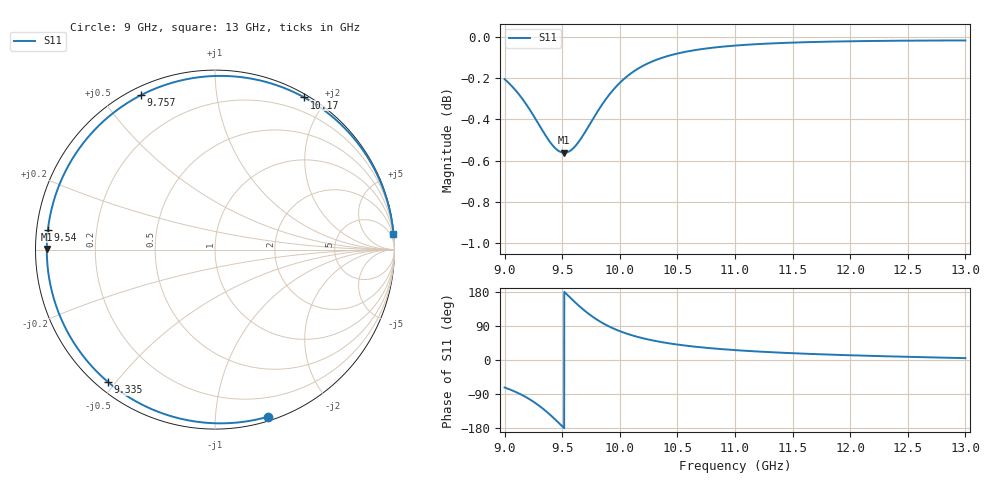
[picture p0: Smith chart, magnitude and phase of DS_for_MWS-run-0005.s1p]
! TOUCHSTONE file generated by CST DESIGN STUDIO
! Date and time: Tue Feb  4 12:55:01 2025
! Project name: C:\Work\MatlabApps\UnitCellOptimizationMatlab\CST\unitcell.cst
! Tree item: Tasks\Sweep1\SPara1\S-Parameters
! Header version: 2024
! Port assignment regex: !\s*Touchstone port\s*([0-9]+)\s*=\s*(CST MWS port|CST DES external port|CST DES block port)\s*(.+)\s* \(\"(.*)\"\)(\s*mode\s*([0-9]+))?.*
! Touchstone port assignment:
! Touchstone port 1 = CST DES external port 1 ("")
# GHz S MA R 50
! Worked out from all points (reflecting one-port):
!   4001 points, 9 GHz to 13 GHz, reference 50 ohm
!   lowest |S11| = -0.6 dB at 9.518 GHz (marker M1), VSWR 30.90, Z = 1.62 + j0.0847 ohm
!   phase of S11 starts at -73 deg and turns -283 deg over the sweep
!   S11 on the Smith chart (normalised r, x): 9 GHz: 0.03, -1.36; 9.335 GHz: 0.03, -0.48; 9.54 GHz: 0.03, +0.06; 9.757 GHz: 0.03, +0.63; 10.17 GHz: 0.03, +1.74; 13 GHz: 1, +23
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9  0.9767 -72.6
9.091  0.971 -83.6
9.195  0.9624 -99.7
9.268  0.9553 -113.8
9.335  0.9484 -129.0
9.38  0.9442 -140.5
9.426  0.9405 -153.1
9.464  0.9385 -164.1
9.5  0.9374 -174.8
9.518  0.9373 179.8
9.54  0.9375 173.2
9.594  0.9396 157.3
9.654  0.944 140.6
9.705  0.9488 127.6
9.757  0.9542 115.7
9.808  0.9593 105.3
9.863  0.9645 95.4
10  0.9747 76.1
10.082  0.9792 67.4
10.171  0.983 59.6
10.321  0.9874 49.5
10.5  0.9908 40.8
10.722  0.9934 33.0
11  0.9953 26.1
11.5  0.9969 17.9
12  0.9977 12.5
12.5  0.998 8.4
13  0.9981 4.9
